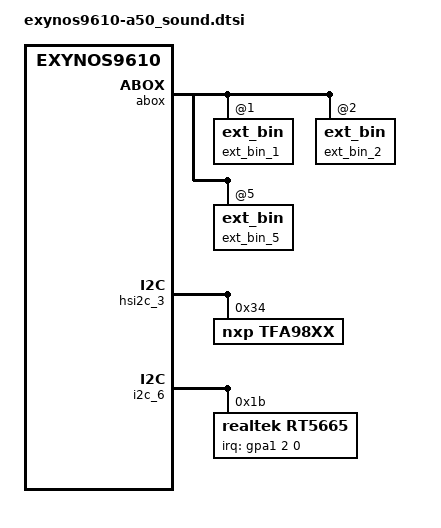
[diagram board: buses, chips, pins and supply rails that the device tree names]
/*
 * SAMSUNG EXYNOS9610 A50 soundcard device tree source
 *
 * Copyright (c) 2018 Samsung Electronics Co., Ltd.
 *		http://www.samsung.com
 *
 * This program is free software; you can redistribute it and/or modify
 * it under the terms of the GNU General Public License version 2 as
 * published by the Free Software Foundation.
 */

/ {
	fragment@sound {
		target-path = "/";
		__overlay__ {
			dummy_audio_codec: audio_codec_dummy {
				status = "okay";
				compatible = "snd-soc-dummy";
			};

			dummy_audio_cpu: audio_cpu_dummy {
				compatible = "samsung,dummy-cpu";
				status = "okay";
			};

			sound {
				status = "okay";
				compatible = "samsung,exynos9610-audio";

				clock-names = "xclkout";
				clocks = <&clock OSC_AUD>;
				pinctrl-names = "default";
				pinctrl-0 = <&xclkout0 &earant_det>;

				samsung,routing =
					"HEADSETMIC", "MICBIAS1",
					"MAINMIC", "MICBIAS2",
					"SUBMIC", "MICBIAS3",
					"IN1P", "HEADSETMIC",
					"IN1N", "HEADSETMIC",
					"IN3P", "MAINMIC",
					"IN3N", "MAINMIC",
					"IN4P", "SUBMIC",
					"IN4N", "SUBMIC",
					"RECEIVER", "MONOOUT",
					"RECEIVER", "MONOOUT",
					"HEADPHONE", "HPOL",
					"HEADPHONE", "HPOR",
					"VOUTPUT", "ABOX UAIF0 Playback",
					"SPEAKER", "ABOX UAIF2 Playback",
					"VOUTPUTCALL", "ABOX SIFS0 Playback",
					"BLUETOOTH SPK", "ABOX SIFS2 Playback",
					"ABOX SPDY Capture", "FM IN",
					"ABOX SIFS2 Capture", "BLUETOOTH MIC",
					"ABOX SIFS0 Capture", "VINPUTCALL";

				samsung,codec = <&abox &abox_uaif_0 &abox_uaif_1 &abox_uaif_2
					&abox_uaif_4 &abox_dsif &abox_spdy>;
				samsung,prefix = "ABOX", "ABOX", "ABOX", "ABOX",
					"ABOX", "ABOX", "ABOX";
				samsung,aux = <&abox_effect &abox_bt>;

				rdma@0 {
					cpu {
						sound-dai = <&abox 0>;
					};
					platform {
						sound-dai = <&abox_rdma_0>;
					};
					codec {
						sound-dai = <&dummy_audio_codec>;
					};
				};
				rdma@1 {
					cpu {
						sound-dai = <&abox 1>;
					};
					platform {
						sound-dai = <&abox_rdma_1>;
					};
					codec {
						sound-dai = <&dummy_audio_codec>;
					};
				};
				rdma@2 {
					cpu {
						sound-dai = <&abox 2>;
					};
					platform {
						sound-dai = <&abox_rdma_2>;
					};
					codec {
						sound-dai = <&dummy_audio_codec>;
					};
				};
				rdma@3 {
					cpu {
						sound-dai = <&abox 3>;
					};
					platform {
						sound-dai = <&abox_rdma_3>;
					};
					codec {
						sound-dai = <&dummy_audio_codec>;
					};
				};
				rdma@4 {
					cpu {
						sound-dai = <&abox 4>;
					};
					platform {
						sound-dai = <&abox_rdma_4>;
					};
					codec {
						sound-dai = <&dummy_audio_codec>;
					};
				};
				rdma@5 {
					cpu {
						sound-dai = <&abox 5>;
					};
					platform {
						sound-dai = <&abox_rdma_5>;
					};
					codec {
						sound-dai = <&dummy_audio_codec>;
					};
				};
				rdma@6 {
					cpu {
						sound-dai = <&abox 6>;
					};
					platform {
						sound-dai = <&abox_rdma_6>;
					};
					codec {
						sound-dai = <&dummy_audio_codec>;
					};
				};
				rdma@7 {
					cpu {
						sound-dai = <&abox 7>;
					};
					platform {
						sound-dai = <&abox_rdma_7>;
					};
					codec {
						sound-dai = <&dummy_audio_codec>;
					};
				};
				wdma@0 {
					cpu {
						sound-dai = <&abox 8>;
					};
					platform {
						sound-dai = <&abox_wdma_0>;
					};
					codec {
						sound-dai = <&dummy_audio_codec>;
					};
				};
				wdma@1 {
					cpu {
						sound-dai = <&abox 9>;
					};
					platform {
						sound-dai = <&abox_wdma_1>;
					};
					codec {
						sound-dai = <&dummy_audio_codec>;
					};
				};
				wdma@2 {
					cpu {
						sound-dai = <&abox 10>;
					};
					platform {
						sound-dai = <&abox_wdma_2>;
					};
					codec {
						sound-dai = <&dummy_audio_codec>;
					};
				};
				wdma@3 {
					cpu {
						sound-dai = <&abox 11>;
					};
					platform {
						sound-dai = <&abox_wdma_3>;
					};
					codec {
						sound-dai = <&dummy_audio_codec>;
					};
				};
				wdma@4 {
					cpu {
						sound-dai = <&abox 12>;
					};
					platform {
						sound-dai = <&abox_wdma_4>;
					};
					codec {
						sound-dai = <&dummy_audio_codec>;
					};
				};
		/** ToDo: enable dp_audio link after enabling DP Audio
		 *		dp_audio@0 {
		 *			cpu {
		 *				sound-dai = <&dummy_audio_cpu>;
		 *			};
		 *			codec {
		 *				sound-dai = <&dummy_audio_codec>;
		 *			};
		 *		};
		 */
				uaif@0 {
					format = "i2s";
					cpu {
						sound-dai = <&abox_uaif_0>;
					};
					codec {
						sound-dai = <&rt5665 0>;
					};
				};
				uaif@1 {
					format = "i2s";
					cpu {
						sound-dai = <&abox_uaif_1>;
					};
					codec {
						sound-dai = <&dummy_audio_codec>;
					};
				};
				uaif@2 {
					format = "i2s";
					cpu {
						sound-dai = <&abox_uaif_2>;
					};
					platform {
						sound-dai = <&abox_synchronized_ipc 0>;
					};
					codec {
						sound-dai = <&tfa98xx 0>;
					};
				};
				uaif@4 {
					format = "i2s";
					bitclock-master;
					frame-master;
					cpu {
						sound-dai = <&abox_uaif_4>;
					};
					codec {
						sound-dai = <&dummy_audio_codec>;
					};
				};
				dsif@0 {
					format = "pdm";
					cpu {
						sound-dai = <&abox_dsif>;
					};
					codec {
						sound-dai = <&dummy_audio_codec>;
					};
				};
				spdy@0 {
					cpu {
						sound-dai = <&abox_spdy>;
					};
					codec {
						sound-dai = <&dummy_audio_codec>;
					};
				};
				sifs0@0 {
					cpu {
						sound-dai = <&abox 13>;
					};
					codec {
						sound-dai = <&dummy_audio_codec>;
					};
				};
				sifs1@0 {
					cpu {
						sound-dai = <&abox 14>;
					};
					codec {
						sound-dai = <&dummy_audio_codec>;
					};
				};
				sifs2@0 {
					cpu {
						sound-dai = <&abox 15>;
					};
					codec {
						sound-dai = <&dummy_audio_codec>;
					};
				};
			};
		};
	};
};

&abox {
	/delete-node/ ext_bin@1;
	ext_bin_1: ext_bin@1 {
		status = "okay";
		samsung,name = "AP_AUDIO_SLSI.bin";
		samsung,area = <1>;
		samsung,offset = <0x7F0000>;
	};
	/delete-node/ ext_bin@2;
	ext_bin_2: ext_bin@2 {
		status = "okay";
		samsung,name = "APBargeIn_AUDIO_SLSI.bin";
		samsung,area = <1>;
		samsung,offset = <0x7EC000>;
	};
	/delete-node/ ext_bin@5;
	ext_bin_5: ext_bin@5 {
		status = "okay";
		samsung,name = "APBiBF_AUDIO_SLSI.bin";
		samsung,area = <1>;
		samsung,offset = <0x7EF000>;
	};
};

&hsi2c_3 {
	#address-cells = <1>;
	#size-cells = <0>;
	status = "okay";
	tfa98xx: tfa98xx@34 {
		compatible = "nxp,tfa98xx";
		#sound-dai-cells = <1>;
		reg = <0x34>;
	};
};

&i2c_6 {
	#address-cells = <1>;
	#size-cells = <0>;
	status = "okay";
	rt5665: rt5665@1b {
		compatible = "realtek,rt5665";
		reg = <0x1b>;
		pinctrl-names = "default";
		pinctrl-0 = <&codec_irq>;
		interrupt-parent = <&gpa1>;
		interrupts = <2 0 0>;
		#sound-dai-cells = <1>;
		realtek,in1-differential;
		realtek,in3-differential;
		realtek,in4-differential;
		realtek,jd-src = <2>;
		realtek,dmic2-data-pin =<2>;
		realtek,sar-hs-type = <700>;
		realtek,sar-pb-vth0 = <95>;
		realtek,sar-pb-vth1 = <139>;
		realtek,sar-pb-vth2 = <246>;
		realtek,sar-pb-vth3 = <580>;
		imp_table = <
			/*min max gain bias*/
			0x0000 0x000d 3 6 // 8 ohm
			0x000e 0x0019 1 6 // 16 ohm
			0x001a 0x0035 0 6 // 32 ohm
			0x0036 0x0067 0 6 // 64 ohm
			0x0068 0xffff 0 6 // > 100 ohm
		>;

		realtek,offset-comp = <0x0078 0x0090 0x00b0 0x00c0
					0x00f0 0x0110 0x0130 0x0180
					0x01e0 0x0200 0x02a0 0x0300
					0x03a0 0x0400 0x0500 0x0600>;
		realtek,offset-comp-r = <0x001a 0x001f 0x0020 0x002a
					0x0030 0x0040 0x0050 0x0060
					0x006f 0x007f 0x00a0 0x00b0
					0x00cf 0x0100 0x0120 0x0160>;
		realtek,regulator_1v8 = <&l42_reg>;
		realtek,regulator_3v3 = <&l40_reg>;
	};
};

/*
&pinctrl_1 {
	fm_dtv_ctrl: fm-dtv-ctrl {
		samsung,pins ="gpm25-0";
		samsung,pin-function = <0x0>;
		samsung,pin-pud = <0>;
	};
};
*/
